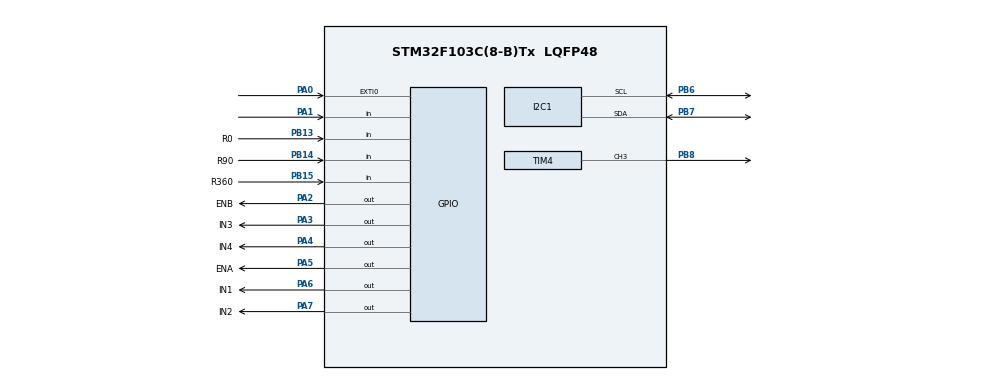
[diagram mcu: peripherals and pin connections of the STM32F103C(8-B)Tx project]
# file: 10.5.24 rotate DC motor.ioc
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Mcu.Family=STM32F1
Mcu.Name=STM32F103C(8-B)Tx
Mcu.Package=LQFP48
NVIC.EXTI0_IRQn=true\:0\:0\:false\:false\:true\:true\:true\:true
NVIC.PriorityGroup=NVIC_PRIORITYGROUP_4
NVIC.TIM2_IRQn=true\:0\:0\:false\:false\:true\:true\:true\:true
PA0-WKUP.GPIO_ModeDefaultEXTI=GPIO_MODE_IT_FALLING
PA0-WKUP.Signal=GPXTI0
PA1.Signal=GPIO_Input
PA13.Mode=Serial_Wire
PA13.Signal=SYS_JTMS-SWDIO
PA14.Mode=Serial_Wire
PA14.Signal=SYS_JTCK-SWCLK
PA2.GPIO_Label=ENB
PA2.GPIO_Speed=GPIO_SPEED_FREQ_HIGH
PA2.Signal=GPIO_Output
PA3.GPIO_Label=IN3
PA3.GPIO_Speed=GPIO_SPEED_FREQ_HIGH
PA3.Signal=GPIO_Output
PA4.GPIO_Label=IN4
PA4.GPIO_Speed=GPIO_SPEED_FREQ_HIGH
PA4.Signal=GPIO_Output
PA5.GPIO_Label=ENA
PA5.GPIO_Speed=GPIO_SPEED_FREQ_HIGH
PA5.Signal=GPIO_Output
PA6.GPIO_Label=IN1
PA6.GPIO_Speed=GPIO_SPEED_FREQ_HIGH
PA6.Signal=GPIO_Output
PA7.GPIO_Label=IN2
PA7.GPIO_Speed=GPIO_SPEED_FREQ_HIGH
PA7.Signal=GPIO_Output
PB13.GPIO_Label=R0
PB13.GPIO_PuPd=GPIO_NOPULL
PB13.Signal=GPIO_Input
PB14.GPIO_Label=R90
PB14.GPIO_PuPd=GPIO_NOPULL
PB14.Signal=GPIO_Input
PB15.GPIO_Label=R360
PB15.Signal=GPIO_Input
PB4.Signal=S_TIM3_CH1
PB5.Signal=S_TIM3_CH2
PB6.Mode=I2C
PB6.Signal=I2C1_SCL
PB7.Mode=I2C
PB7.Signal=I2C1_SDA
PB8.Signal=S_TIM4_CH3
PD0-OSC_IN.Mode=HSE-External-Oscillator
PD0-OSC_IN.Signal=RCC_OSC_IN
PD1-OSC_OUT.Mode=HSE-External-Oscillator
PD1-OSC_OUT.Signal=RCC_OSC_OUT
ProjectManager.HeapSize=0x200
ProjectManager.StackSize=0x400
ProjectManager.TargetToolchain=MDK-ARM V5
RCC.APB1Freq_Value=8000000
RCC.APB2Freq_Value=8000000
SH.S_TIM3_CH1.0=TIM3_CH1
SH.S_TIM3_CH2.0=TIM3_CH2
SH.S_TIM4_CH3.0=TIM4_CH3,PWM Generation3 CH3
TIM2.Period=10000
TIM2.Prescaler=8
TIM4.Channel-PWM\ Generation3\ CH3=TIM_CHANNEL_3
TIM4.Period=1000
TIM4.Prescaler=8
VP_TIM2_VS_ClockSourceINT.Mode=Internal
VP_TIM4_VS_ClockSourceINT.Mode=Internal
board=custom

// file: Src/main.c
/* USER CODE BEGIN Header */
/**
  ******************************************************************************
  * @file           : main.c
  * @brief          : Main program body
  ******************************************************************************
  * @attention
  *
  * Copyright (c) 2024 STMicroelectronics.
  * All rights reserved.
  *
  * This software is licensed under terms that can be found in the LICENSE file
  * in the root directory of this software component.
  * If no LICENSE file comes with this software, it is provided AS-IS.
  *
  ******************************************************************************
  */
/* USER CODE END Header */
#include "main.h"

I2C_HandleTypeDef hi2c1;

TIM_HandleTypeDef htim2;
TIM_HandleTypeDef htim4;

void SystemClock_Config(void);
static void MX_GPIO_Init(void);
static void MX_I2C1_Init(void);
static void MX_TIM2_Init(void);
static void MX_TIM4_Init(void);

/* USER CODE BEGIN 0 */
void Back(){
		HAL_GPIO_WritePin(IN1_GPIO_Port, IN1_Pin, 1);
		HAL_GPIO_WritePin(IN2_GPIO_Port, IN2_Pin, 0);
		HAL_GPIO_WritePin(ENA_GPIO_Port, ENA_Pin, 1);
}

void Forward(){
		HAL_GPIO_WritePin(IN1_GPIO_Port, IN1_Pin, 0);
		HAL_GPIO_WritePin(IN2_GPIO_Port, IN2_Pin, 1);
		HAL_GPIO_WritePin(ENA_GPIO_Port, ENA_Pin, 1);
}

void Stop(){
		HAL_GPIO_WritePin(IN1_GPIO_Port, IN1_Pin, 0);
		HAL_GPIO_WritePin(IN2_GPIO_Port, IN2_Pin, 0);
		HAL_GPIO_WritePin(ENA_GPIO_Port, ENA_Pin, 0);
}

volatile long PWM;
volatile long valuePWM;
void HAL_GPIO_EXTI_Callback(uint16_t GPIO_Pin) {
	if (HAL_GPIO_ReadPin(GPIOA, GPIO_PIN_1) == 0) {
		PWM--;
	}
	else
		PWM++;
}

void Xuat_PWM(TIM_HandleTypeDef *htim, uint32_t Channel, float Duty_Cycle) {
Duty_Cycle = Duty_Cycle / 100 * htim->Instance->ARR;
__HAL_TIM_SET_COMPARE(htim, Channel, (uint16_t)Duty_Cycle);
}

int cnt = 100;
volatile short errN = 0;
volatile short errO = 0;
volatile short encdPos = 0;
volatile short targetPos = 400;
volatile float signalOut = 0;
volatile float k = 0.395;

void Data(){
	if(signalOut > 0){
		Forward();
		Xuat_PWM(&htim4, TIM_CHANNEL_3, signalOut);
	}
	if(signalOut < 0){
		Back();
		Xuat_PWM(&htim4, TIM_CHANNEL_3, signalOut);
	}
	if(signalOut == 0){
		Stop();
		Xuat_PWM(&htim4, TIM_CHANNEL_3, signalOut);
	}
}

void HAL_TIM_PeriodElapsedCallback(TIM_HandleTypeDef *htim){
	encdPos = PWM;
	errN = targetPos - encdPos;
	signalOut = errN*k;
	if(signalOut > 40)
		signalOut = 40;
	if(signalOut < -40)
		signalOut = -40;
	errO = errN;
	Data();

//	if(cnt > 0){
//		cnt--;
//		if(cnt <= 0){
//			cnt = 100;
//			HAL_GPIO_TogglePin(ENB_GPIO_Port, ENB_Pin);
//		}
//	}
}

/* USER CODE END 0 */

int main(void)
{

  /* MCU Configuration--------------------------------------------------------*/

  /* Reset of all peripherals, Initializes the Flash interface and the Systick. */
  HAL_Init();

  /* Configure the system clock */
  SystemClock_Config();

  /* Initialize all configured peripherals */
  MX_GPIO_Init();
  MX_I2C1_Init();
  MX_TIM2_Init();
  MX_TIM4_Init();
  /* USER CODE BEGIN 2 */
	HAL_TIM_Base_Start_IT(&htim2);
	HAL_TIM_PWM_Start(&htim4, TIM_CHANNEL_3);
	Xuat_PWM(&htim4,TIM_CHANNEL_3,30);
  /* USER CODE END 2 */

  /* Infinite loop */
  while (1)
  {

    /* USER CODE BEGIN 3 */
		if(HAL_GPIO_ReadPin(GPIOB, R0_Pin) == 0){
		}
		else if(HAL_GPIO_ReadPin(GPIOB, R0_Pin) == 1){
		}
		if(HAL_GPIO_ReadPin(GPIOB, R90_Pin) == 0){
		}
		else if(HAL_GPIO_ReadPin(GPIOB, R90_Pin) == 1){
		}
		if(HAL_GPIO_ReadPin(GPIOB, R360_Pin) == 0){
		}
		else if(HAL_GPIO_ReadPin(GPIOB, R360_Pin) == 1){
		}

	}
  /* USER CODE END 3 */
}

void SystemClock_Config(void)
{
  RCC_OscInitTypeDef RCC_OscInitStruct = {0};
  RCC_ClkInitTypeDef RCC_ClkInitStruct = {0};

  /** Initializes the RCC Oscillators according to the specified parameters
  * in the RCC_OscInitTypeDef structure.
  */
  RCC_OscInitStruct.OscillatorType = RCC_OSCILLATORTYPE_HSI;
  RCC_OscInitStruct.HSIState = RCC_HSI_ON;
  RCC_OscInitStruct.HSICalibrationValue = RCC_HSICALIBRATION_DEFAULT;
  RCC_OscInitStruct.PLL.PLLState = RCC_PLL_NONE;
  if (HAL_RCC_OscConfig(&RCC_OscInitStruct) != HAL_OK)
  {
    Error_Handler();
  }

  /** Initializes the CPU, AHB and APB buses clocks
  */
  RCC_ClkInitStruct.ClockType = RCC_CLOCKTYPE_HCLK|RCC_CLOCKTYPE_SYSCLK
                              |RCC_CLOCKTYPE_PCLK1|RCC_CLOCKTYPE_PCLK2;
  RCC_ClkInitStruct.SYSCLKSource = RCC_SYSCLKSOURCE_HSI;
  RCC_ClkInitStruct.AHBCLKDivider = RCC_SYSCLK_DIV1;
  RCC_ClkInitStruct.APB1CLKDivider = RCC_HCLK_DIV1;
  RCC_ClkInitStruct.APB2CLKDivider = RCC_HCLK_DIV1;

  if (HAL_RCC_ClockConfig(&RCC_ClkInitStruct, FLASH_LATENCY_0) != HAL_OK)
  {
    Error_Handler();
  }
}

static void MX_I2C1_Init(void)
{

  hi2c1.Instance = I2C1;
  hi2c1.Init.ClockSpeed = 100000;
  hi2c1.Init.DutyCycle = I2C_DUTYCYCLE_2;
  hi2c1.Init.OwnAddress1 = 0;
  hi2c1.Init.AddressingMode = I2C_ADDRESSINGMODE_7BIT;
  hi2c1.Init.DualAddressMode = I2C_DUALADDRESS_DISABLE;
  hi2c1.Init.OwnAddress2 = 0;
  hi2c1.Init.GeneralCallMode = I2C_GENERALCALL_DISABLE;
  hi2c1.Init.NoStretchMode = I2C_NOSTRETCH_DISABLE;
  if (HAL_I2C_Init(&hi2c1) != HAL_OK)
  {
    Error_Handler();
  }

}

static void MX_TIM2_Init(void)
{

  TIM_ClockConfigTypeDef sClockSourceConfig = {0};
  TIM_MasterConfigTypeDef sMasterConfig = {0};

  htim2.Instance = TIM2;
  htim2.Init.Prescaler = 8;
  htim2.Init.CounterMode = TIM_COUNTERMODE_UP;
  htim2.Init.Period = 10000;
  htim2.Init.ClockDivision = TIM_CLOCKDIVISION_DIV1;
  htim2.Init.AutoReloadPreload = TIM_AUTORELOAD_PRELOAD_DISABLE;
  if (HAL_TIM_Base_Init(&htim2) != HAL_OK)
  {
    Error_Handler();
  }
  sClockSourceConfig.ClockSource = TIM_CLOCKSOURCE_INTERNAL;
  if (HAL_TIM_ConfigClockSource(&htim2, &sClockSourceConfig) != HAL_OK)
  {
    Error_Handler();
  }
  sMasterConfig.MasterOutputTrigger = TIM_TRGO_RESET;
  sMasterConfig.MasterSlaveMode = TIM_MASTERSLAVEMODE_DISABLE;
  if (HAL_TIMEx_MasterConfigSynchronization(&htim2, &sMasterConfig) != HAL_OK)
  {
    Error_Handler();
  }

}

static void MX_TIM4_Init(void)
{

  TIM_ClockConfigTypeDef sClockSourceConfig = {0};
  TIM_MasterConfigTypeDef sMasterConfig = {0};
  TIM_OC_InitTypeDef sConfigOC = {0};

  htim4.Instance = TIM4;
  htim4.Init.Prescaler = 8;
  htim4.Init.CounterMode = TIM_COUNTERMODE_UP;
  htim4.Init.Period = 1000;
  htim4.Init.ClockDivision = TIM_CLOCKDIVISION_DIV1;
  htim4.Init.AutoReloadPreload = TIM_AUTORELOAD_PRELOAD_DISABLE;
  if (HAL_TIM_Base_Init(&htim4) != HAL_OK)
  {
    Error_Handler();
  }
  sClockSourceConfig.ClockSource = TIM_CLOCKSOURCE_INTERNAL;
  if (HAL_TIM_ConfigClockSource(&htim4, &sClockSourceConfig) != HAL_OK)
  {
    Error_Handler();
  }
  if (HAL_TIM_PWM_Init(&htim4) != HAL_OK)
  {
    Error_Handler();
  }
  sMasterConfig.MasterOutputTrigger = TIM_TRGO_RESET;
  sMasterConfig.MasterSlaveMode = TIM_MASTERSLAVEMODE_DISABLE;
  if (HAL_TIMEx_MasterConfigSynchronization(&htim4, &sMasterConfig) != HAL_OK)
  {
    Error_Handler();
  }
  sConfigOC.OCMode = TIM_OCMODE_PWM1;
  sConfigOC.Pulse = 0;
  sConfigOC.OCPolarity = TIM_OCPOLARITY_HIGH;
  sConfigOC.OCFastMode = TIM_OCFAST_DISABLE;
  if (HAL_TIM_PWM_ConfigChannel(&htim4, &sConfigOC, TIM_CHANNEL_3) != HAL_OK)
  {
    Error_Handler();
  }
  HAL_TIM_MspPostInit(&htim4);

}

static void MX_GPIO_Init(void)
{
  GPIO_InitTypeDef GPIO_InitStruct = {0};

  /* GPIO Ports Clock Enable */
  __HAL_RCC_GPIOD_CLK_ENABLE();
  __HAL_RCC_GPIOA_CLK_ENABLE();
  __HAL_RCC_GPIOB_CLK_ENABLE();

  /*Configure GPIO pin Output Level */
  HAL_GPIO_WritePin(GPIOA, ENB_Pin|IN3_Pin|IN4_Pin|ENA_Pin
                          |IN1_Pin|IN2_Pin, GPIO_PIN_RESET);

  /*Configure GPIO pin : PA0 */
  GPIO_InitStruct.Pin = GPIO_PIN_0;
  GPIO_InitStruct.Mode = GPIO_MODE_IT_FALLING;
  GPIO_InitStruct.Pull = GPIO_NOPULL;
  HAL_GPIO_Init(GPIOA, &GPIO_InitStruct);

  /*Configure GPIO pin : PA1 */
  GPIO_InitStruct.Pin = GPIO_PIN_1;
  GPIO_InitStruct.Mode = GPIO_MODE_INPUT;
  GPIO_InitStruct.Pull = GPIO_NOPULL;
  HAL_GPIO_Init(GPIOA, &GPIO_InitStruct);

  /*Configure GPIO pins : ENB_Pin IN3_Pin IN4_Pin ENA_Pin
                           IN1_Pin IN2_Pin */
  GPIO_InitStruct.Pin = ENB_Pin|IN3_Pin|IN4_Pin|ENA_Pin
                          |IN1_Pin|IN2_Pin;
  GPIO_InitStruct.Mode = GPIO_MODE_OUTPUT_PP;
  GPIO_InitStruct.Pull = GPIO_NOPULL;
  GPIO_InitStruct.Speed = GPIO_SPEED_FREQ_HIGH;
  HAL_GPIO_Init(GPIOA, &GPIO_InitStruct);

  /*Configure GPIO pins : R0_Pin R90_Pin R360_Pin */
  GPIO_InitStruct.Pin = R0_Pin|R90_Pin|R360_Pin;
  GPIO_InitStruct.Mode = GPIO_MODE_INPUT;
  GPIO_InitStruct.Pull = GPIO_NOPULL;
  HAL_GPIO_Init(GPIOB, &GPIO_InitStruct);

  /*Configure GPIO pins : PB4 PB5 */
  GPIO_InitStruct.Pin = GPIO_PIN_4|GPIO_PIN_5;
  GPIO_InitStruct.Mode = GPIO_MODE_AF_PP;
  GPIO_InitStruct.Speed = GPIO_SPEED_FREQ_LOW;
  HAL_GPIO_Init(GPIOB, &GPIO_InitStruct);

  /*Configure peripheral I/O remapping */
  __HAL_AFIO_REMAP_TIM3_PARTIAL();

  /* EXTI interrupt init*/
  HAL_NVIC_SetPriority(EXTI0_IRQn, 0, 0);
  HAL_NVIC_EnableIRQ(EXTI0_IRQn);

}

void Error_Handler(void)
{
  __disable_irq();
  while (1)
  {
  }
}
